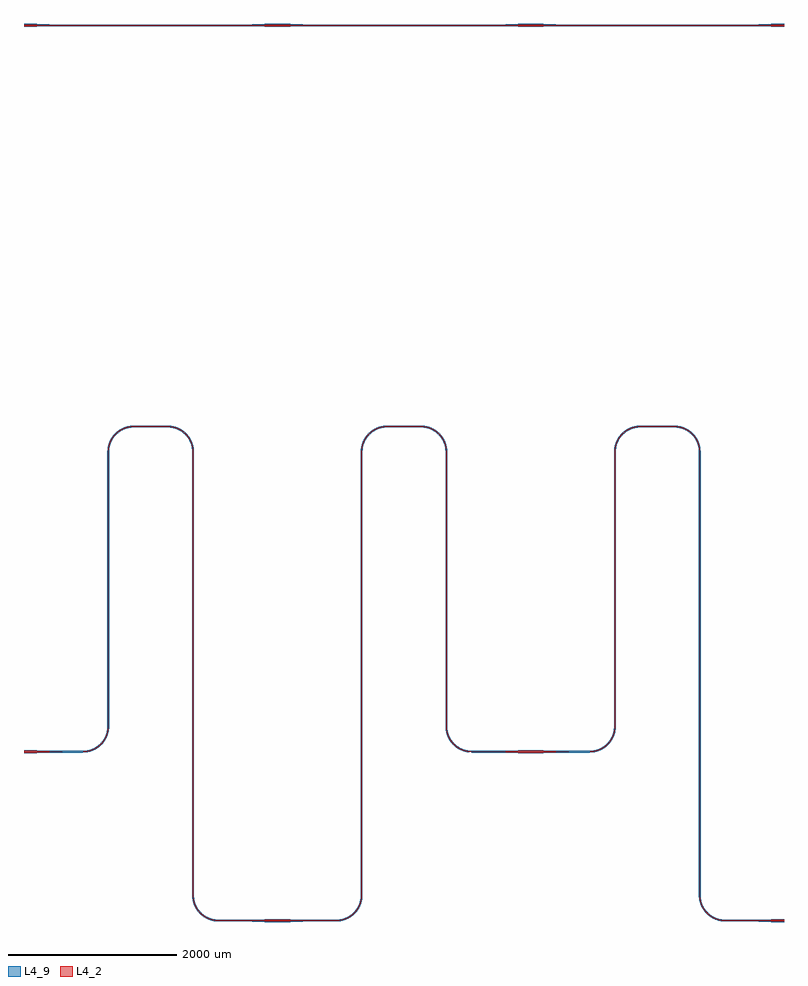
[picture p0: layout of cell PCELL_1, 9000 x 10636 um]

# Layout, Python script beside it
from technologies import silicon_photonics
# from picazzo3.filters.mmi.cell import MMI1x2Tapered
# from picazzo3.filters.mmi.cell import MMI2x1Tapered
from picazzo3.filters.mmi.cell import MMI2x2Tapered
from picazzo3.traces.wire_wg.trace import WireWaveguideTemplate

from picazzo3.traces.wire_wg import WireWaveguideTransitionLinear

from picazzo3.routing.place_route import PlaceAndAutoRoute

import ipkiss3.all as i3

# import numpy as np


class v8(PlaceAndAutoRoute):
    wg_t1 = i3.WaveguideTemplateProperty()
    wg_sm = i3.WaveguideTemplateProperty()
    mmi_trace_template = i3.WaveguideTemplateProperty()
    mmi_access_template = i3.WaveguideTemplateProperty()
    WGSM = i3.ChildCellProperty()
    widtha = i3.PositiveNumberProperty(doc="width of ports", default=15)

    mmi22 = i3.ChildCellProperty()
    WG1 = i3.ChildCellProperty()
    WG2 = i3.ChildCellProperty()
    #
    # start_id = None
    start_id = i3.PositiveNumberProperty(doc="name", default=1)
    # start_id = current_id
    param_num = 5

    def _default_links(self):
        links = [
            # ("MMI1b:out2", "WGuptaper2:out"),
            # ("MMI1b:out1", "WGdowntaper2:out"),
            # # ("MMI1b:out","MMI1a:in"),
            # ("WGuptaper:out", "MMI1b:in2"),
            # ("WGdowntaper:out", "MMI1b:in1"),

            ("DWGuptaper:out", "DWGuptaper2:out"),
            ("DWGdowntaper:out", "dummy1:in"),
            ("DWGdowntaper2:out", "dummy1:out")
        ]
        return links

    def _default_child_cells(self):
        child_cells = {
            "dummy1": self.WGSM,
            # "MMI1b": self.mmi22,
            # "WGup": self.WG1,
            # "WGdown": self.WG1,
            # "WGup2": self.WG1,
            # "WGdown2": self.WG1,
            # "WGuptaper": self.WG2,
            # "WGdowntaper": self.WG2,
            # "WGuptaper2": self.WG2,
            # "WGdowntaper2": self.WG2,

            "DWGup": self.WG1,
            "DWGdown": self.WG1,
            "DWGup2": self.WG1,
            "DWGdown2": self.WG1,
            "DWGuptaper": self.WG2,
            "DWGdowntaper": self.WG2,
            "DWGuptaper2": self.WG2,
            "DWGdowntaper2": self.WG2

        }
        return child_cells

    def _default_trace_template(self):
        trace_template = self.wg_sm
        return trace_template

    def _default_mmi22(self):
        mmi22 = MMI2x2Tapered(mmi_trace_template=self.mmi_trace_template,
                              input_trace_template=self.mmi_access_template,
                              output_trace_template=self.mmi_access_template,
                              trace_template=self.wg_sm,
                              )
        return mmi22

    def _default_WG2(self):
        WG2 = WireWaveguideTransitionLinear(name="Dongbo{}".format(str(self.start_id)),
                                            start_trace_template=self.wg_t1,
                                            end_trace_template=self.wg_sm,
                                            )
        return WG2

    def _default_WG1(self):
        WG1 = i3.Waveguide(name="Dongbo{}".format(str(self.start_id + 1)), trace_template=self.wg_t1)
        return WG1

    def _default_wg_t1(self):
        wg_t1 = WireWaveguideTemplate(name="port_{}".format(str(self.widtha)))
        wg_t1.Layout(core_width=self.widtha,
                     cladding_width=self.widtha + 16.0,
                     core_process=i3.TECH.PROCESS.WG)
        return wg_t1

    def _default_wg_sm(self):
        wg_sm = WireWaveguideTemplate(name="dongbo{}".format(str(self.start_id + 3)))
        wg_sm.Layout(core_width=3.8, cladding_width=3.8 + 16.0)
        return wg_sm

    def _default_WGSM(self):
        WGSM = i3.Waveguide(name="SM", trace_template=self.trace_template)

        return WGSM

    def _default_mmi_trace_template(self):
        mmi_trace_template = WireWaveguideTemplate(name="dongbo{}".format(str(self.start_id + 4)))
        mmi_trace_template.Layout(core_width=20.0, cladding_width=20.0 + 16.0)  # MMI_width
        return mmi_trace_template

    def _default_mmi_access_template(self):
        mmi_access_template = WireWaveguideTemplate(name="dongbo{}".format(str(self.start_id + 5)))
        mmi_access_template.Layout(core_width=9.0, cladding_width=9.0 + 16.0)
        return mmi_access_template

    class Layout(PlaceAndAutoRoute.Layout):
        length = i3.PositiveNumberProperty(doc="MMI length", default=398)

        # width = i3.PositiveNumberProperty(doc="width of ports", default=15)

        # def _default_wg_t1(self):
        #     layout_wg_t1 = self.cell.wg_t1.get_default_view(i3.LayoutView)
        #     layout_wg_t1.set(core_width=self.width,
        #                      cladding_width=self.width + 16.0,
        #                      core_process=i3.TECH.PROCESS.WG)
        #     return layout_wg_t1

        def _default_WG1(self):
            layout_WG1 = self.cell.WG1.get_default_view(i3.LayoutView)
            layout_WG1.set(shape=[(0.0, 0.0), (150.0, 0.0)])
            return layout_WG1

        def _default_WG2(self):
            layout_WG2 = self.cell.WG2.get_default_view(i3.LayoutView)
            layout_WG2.set(start_position=(150.0, 0.0), end_position=(450.0, 0.0))
            return layout_WG2

        def _default_WGSM(self):
            layout_WGSM = self.cell.WGSM.get_default_view(i3.LayoutView)
            layout_WGSM.set(shape=[(0.0, 0.0), (400.0, 0.0)])
            return layout_WGSM

        def _default_mmi22(self):
            layout_mmi22 = self.cell.mmi22.get_default_view(i3.LayoutView)
            layout_mmi22.set(name="MMI22_l_{}".format(str(self.length)), transition_length=200.0, length=self.length, trace_spacing=11.0)
            return layout_mmi22

        def _default_child_transformations(self):
            child_transformations = {
                                     # "MMI1b": (1300, 0),
                                     # "WGup": (0, 4000),
                                     # "WGuptaper": (0, 4000),
                                     # "WGdown": (0, -4000),
                                     # "WGdowntaper": (0, -4000),
                                     # "WGuptaper2": i3.HMirror() + i3.Translation((3000, 2000)),
                                     # "WGdowntaper2": i3.HMirror() + i3.Translation((3000, -6000)),
                                     # "WGup2": (2850, 2000),
                                     # "WGdown2": (2850, -6000),

                                     "dummy1": (1300, -300+8300*2),
                                     "DWGup": (0, 21050),
                                     "DWGuptaper": (0, 21050),
                                     "DWGdown": (0, -4150+8300*2),
                                     "DWGdowntaper": (0, -4150+8300*2),
                                     "DWGuptaper2": i3.HMirror() + i3.Translation((3000, 21050)),
                                     "DWGdowntaper2": i3.HMirror() + i3.Translation((3000, -6150+8300*2)),
                                     "DWGup2": (2850, 21050),
                                     "DWGdown2": (2850, -6150+8300*2)
                                     }
            return child_transformations

        def _default_bend_radius(self):
            bend_radius = 300
            return bend_radius

        # def _generate_elements(self, elems):
        #
        #         elems += i3.PolygonText(layer=i3.TECH.PPLAYER.WG.TEXT,
        #                                 text='Name={}_{}'.format(self.cell.mmi22.get_default_view(i3.LayoutView).name, self.cell.wg_t1.name),
        #                                 coordinate=(1300.0, 100.0),
        #                                 alignment=(i3.TEXT_ALIGN_LEFT, i3.TEXT_ALIGN_LEFT),
        #                                 font=2,
        #                                 height=20.0)
        #
        #
        #         return elems


#
current_id = 1
mmi1 = v8(name="P1", widtha=20, start_id=current_id)
current_id += mmi1.param_num
mmi1_layout = mmi1.Layout(length=390)
# from copy import deepcopy
# mmi1.wg_t1 = deepcopy(mmi1.wg_t1 )
mmi2 = v8(name="P2", widtha=20, start_id=current_id)
current_id += mmi2.param_num
mmi2_layout = mmi2.Layout(length=398)
mmi3 = v8(name="P3", widtha=20, start_id=current_id)
current_id += mmi3.param_num
mmi3_layout = mmi3.Layout(length=406)
# mmi4 = v8(name="P4", widtha=15, start_id=current_id)
# current_id += mmi4.param_num
# mmi4_layout = mmi4.Layout(length=390)
# mmi5 = v8(name="P5", widtha=15, start_id=current_id)
# current_id += mmi5.param_num
# mmi5_layout = mmi5.Layout(length=398)
# mmi6 = v8(name="P6", widtha=15, start_id=current_id)
# current_id += mmi6.param_num
# mmi6_layout = mmi6.Layout(length=406)
# mmi7 = v8(name="P7", widtha=20, start_id=current_id)
# current_id += mmi7.param_num
# mmi7_layout = mmi7.Layout(length=390)
# mmi8 = v8(name="P8", widtha=20, start_id=current_id)
# current_id += mmi8.param_num
# mmi8_layout = mmi8.Layout(length=398)
# mmi9 = v8(name="P9", widtha=20, start_id=current_id)
# current_id += mmi9.param_num
# mmi9_layout = mmi9.Layout(length=406)
# mmi1.set(width=10)
# mmi1_layout.write_gdsii("MMI22_V2.gds")
# mmi2 = v8(name="P2", width=20)
# mmi2.set(width=20)
# mmi2_layout = mmi2.Layout()
# mmi3 = v8(name="P3", widtha=20)
# mmi2.set(width=20)


# print mmi1.width
# mmi1_layout.write_gdsii("MMI22_V2_1.gds")
# mmi2_layout.write_gdsii("MMI22_V2_2.gds")
# mmi3_layout.write_gdsii("MMI22_V2_3.gds")

pr = PlaceAndAutoRoute(
    child_cells={
        "1": mmi1,
        "2": mmi2,
        "3": mmi3,
        # "4": mmi4,
        # "5": mmi5,
        # "6": mmi6,
        # "7": mmi7,
        # "8": mmi8,
        # "9": mmi9
    }
)

pr_layout = pr.Layout(child_transformations={"1": (0, 0),
                                             "2": i3.HMirror(0.0) + i3.Translation((6000, 0)),
                                             "3": (6000, 0),
                                             # "4": (0, 8300),
                                             # "5": i3.HMirror(0.0) + i3.Translation((6000, 8300)),
                                             # "6": (6000, 8300),
                                             # "7": (0, 16600),
                                             # "8": i3.HMirror(0.0) + i3.Translation((6000, 16600)),
                                             # "9": (6000, 16600)
                                             })
pr_layout.visualize(annotate=True)
pr_layout.write_gdsii("1_MMI22_V4_line_20.gds")
